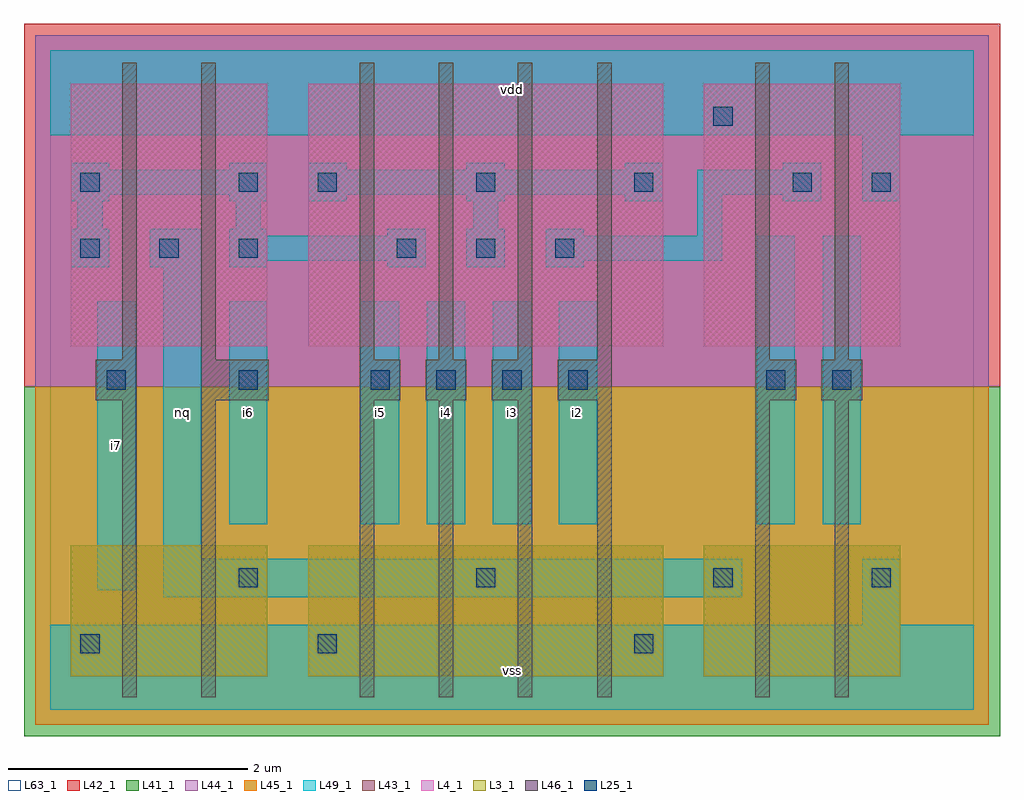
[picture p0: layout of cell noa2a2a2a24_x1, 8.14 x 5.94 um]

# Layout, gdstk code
import gdstk
lib = gdstk.Library(unit=1e-6, precision=1e-09)
def R(c, l, rs):  # rectangles x0, y0, x1, y1
    for r in rs: c.add(gdstk.rectangle(r[:2], r[2:], *l))
def A(c, l, x, y, w, h, nx, ny, dx, dy):  # array of equal rectangles
    R(c, l, [(x+i*dx, y+j*dy, x+i*dx+w, y+j*dy+h) for i in range(nx) for j in range(ny)])
L3_1 = (3, 1)
L4_1 = (4, 1)
L25_1 = (25, 1)
L41_1 = (41, 1)
L42_1 = (42, 1)
L43_1 = (43, 1)
L44_1 = (44, 1)
L45_1 = (45, 1)
L46_1 = (46, 1)
L49_1 = (49, 1)
L63_1 = (63, 1)

noa2a2a2a24_x1 = lib.new_cell('noa2a2a2a24_x1')
R(noa2a2a2a24_x1, L3_1, [(0.17,0.28,1.81,1.37), (2.15,0.28,5.11,1.37), (5.45,0.28,7.09,1.37)])
R(noa2a2a2a24_x1, L4_1, [(0.17,3.03,1.81,5.22), (2.15,3.03,5.11,5.22), (5.45,3.03,7.09,5.22)])
A(noa2a2a2a24_x1, L25_1, 1.57, 1.02, 0.16, 0.16, 3, 1, 1.98, 0)
A(noa2a2a2a24_x1, L25_1, 0.47, 2.67, 0.16, 0.16, 3, 1, 1.1, 0)
A(noa2a2a2a24_x1, L25_1, 3.22, 2.67, 0.16, 0.16, 3, 1, 0.55, 0)
A(noa2a2a2a24_x1, L25_1, 0.25, 3.77, 0.16, 0.16, 3, 1, 0.66, 0)
A(noa2a2a2a24_x1, L25_1, 2.89, 3.77, 0.16, 0.16, 3, 1, 0.66, 0)
A(noa2a2a2a24_x1, L25_1, 2.23, 4.32, 0.16, 0.16, 4, 1, 1.32, 0)
R(noa2a2a2a24_x1, L25_1, [(0.25,0.47,0.41,0.63), (2.23,0.47,2.39,0.63), (4.87,0.47,5.03,0.63), (6.85,1.02,7.01,1.18), (5.97,2.67,6.13,2.83), (6.52,2.67,6.68,2.83), (0.25,4.32,0.41,4.48), (1.57,4.32,1.73,4.48), (6.85,4.32,7.01,4.48), (5.53,4.87,5.69,5.03)])
R(noa2a2a2a24_x1, L41_1, [(-0.22,-0.22,7.92,2.695)])
R(noa2a2a2a24_x1, L42_1, [(-0.22,2.695,7.92,5.72)])
R(noa2a2a2a24_x1, L43_1, [(0.17,0.28,1.81,1.37), (2.15,0.28,5.11,1.37), (5.45,0.28,7.09,1.37), (0.17,3.03,1.81,5.22), (2.15,3.03,5.11,5.22), (5.45,3.03,7.09,5.22)])
R(noa2a2a2a24_x1, L44_1, [(-0.125,2.695,7.825,5.625)])
R(noa2a2a2a24_x1, L45_1, [(-0.125,-0.125,7.825,2.695)])
A(noa2a2a2a24_x1, L46_1, 2.58, 0.105, 0.12, 2.475, 4, 2, 0.66, 2.815)
A(noa2a2a2a24_x1, L46_1, 2.58, 2.58, 0.34, 0.34, 3, 1, 0.55, 0)
R(noa2a2a2a24_x1, L46_1, [(0.6,0.105,0.72,2.58), (1.26,0.105,1.38,2.58), (5.88,0.105,6,2.58), (6.54,0.105,6.66,2.58), (0.38,2.58,0.72,2.92), (1.26,2.58,1.82,2.92), (4.23,2.58,4.68,2.92), (5.88,2.58,6.22,2.92), (6.43,2.58,6.77,2.92), (0.6,2.92,0.72,5.395), (1.26,2.92,1.38,5.395), (5.88,2.92,6,5.395), (6.54,2.92,6.66,5.395)])
A(noa2a2a2a24_x1, L49_1, 2.59, 1.545, 0.32, 1.86, 4, 1, 0.55, 0)
A(noa2a2a2a24_x1, L49_1, 1.49, 3.69, 0.32, 0.055, 3, 2, 1.32, 0.265)
A(noa2a2a2a24_x1, L49_1, 2.15, 4.24, 0.32, 0.055, 4, 2, 1.32, 0.265)
R(noa2a2a2a24_x1, L49_1, [(0,0,7.7,0.71), (6.77,0.71,7.09,1.26), (0.94,0.94,5.77,1.26), (0.39,0.995,0.71,3.405), (0.94,1.26,1.26,3.69), (1.49,1.545,1.81,3.405), (5.89,1.545,6.21,3.955), (6.44,1.545,6.76,3.955), (0.17,3.69,0.49,4.01), (0.83,3.69,1.26,4.01), (3.47,3.69,3.79,4.01), (1.49,3.745,3.13,3.955), (4.13,3.745,5.605,3.955), (5.395,3.955,5.605,4.295), (0.225,4.01,0.435,4.24), (1.545,4.01,1.755,4.24), (3.525,4.01,3.735,4.24), (0.17,4.24,0.49,4.295), (1.49,4.24,1.81,4.295), (6.77,4.24,7.09,4.79), (0.17,4.295,1.81,4.505), (2.15,4.295,5.11,4.505), (5.395,4.295,6.43,4.505), (0.17,4.505,0.49,4.56), (1.49,4.505,1.81,4.56), (0,4.79,7.7,5.5)])
R(noa2a2a2a24_x1, L63_1, [(0,0,7.7,5.5)])
noa2a2a2a24_x1.add(gdstk.Label('i7', (0.55,2.2), layer=49, texttype=1))
noa2a2a2a24_x1.add(gdstk.Label('i7', (0.55,2.2), layer=49, texttype=1))
noa2a2a2a24_x1.add(gdstk.Label('nq', (1.1,2.475), layer=49, texttype=1))
noa2a2a2a24_x1.add(gdstk.Label('nq', (1.1,2.475), layer=49, texttype=1))
noa2a2a2a24_x1.add(gdstk.Label('i5', (2.75,2.475), layer=49, texttype=1))
noa2a2a2a24_x1.add(gdstk.Label('i6', (1.65,2.475), layer=49, texttype=1))
noa2a2a2a24_x1.add(gdstk.Label('i5', (2.75,2.475), layer=49, texttype=1))
noa2a2a2a24_x1.add(gdstk.Label('i6', (1.65,2.475), layer=49, texttype=1))
noa2a2a2a24_x1.add(gdstk.Label('vss', (3.85,0.33), layer=49, texttype=1))
noa2a2a2a24_x1.add(gdstk.Label('vss', (3.85,0.33), layer=49, texttype=1))
noa2a2a2a24_x1.add(gdstk.Label('i4', (3.3,2.475), layer=49, texttype=1))
noa2a2a2a24_x1.add(gdstk.Label('i3', (3.85,2.475), layer=49, texttype=1))
noa2a2a2a24_x1.add(gdstk.Label('i2', (4.4,2.475), layer=49, texttype=1))
noa2a2a2a24_x1.add(gdstk.Label('i2', (4.4,2.475), layer=49, texttype=1))
noa2a2a2a24_x1.add(gdstk.Label('i3', (3.85,2.475), layer=49, texttype=1))
noa2a2a2a24_x1.add(gdstk.Label('i4', (3.3,2.475), layer=49, texttype=1))
noa2a2a2a24_x1.add(gdstk.Label('vdd', (3.85,5.17), layer=49, texttype=1))
noa2a2a2a24_x1.add(gdstk.Label('vdd', (3.85,5.17), layer=49, texttype=1))

lib.write_gds('noa2a2a2a24_x1.gds')
